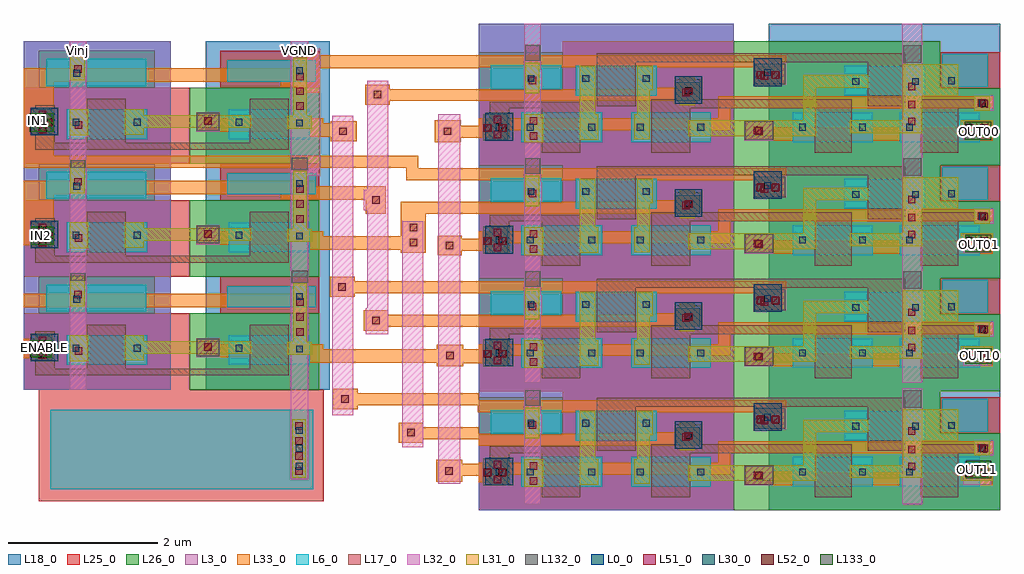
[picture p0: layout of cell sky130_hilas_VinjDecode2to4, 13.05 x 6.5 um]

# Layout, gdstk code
import gdstk
lib = gdstk.Library(unit=1e-6, precision=1e-09)
def R(c, l, rs):  # rectangles x0, y0, x1, y1
    for r in rs: c.add(gdstk.rectangle(r[:2], r[2:], *l))
def A(c, l, x, y, w, h, nx, ny, dx, dy):  # array of equal rectangles
    R(c, l, [(x+i*dx, y+j*dy, x+i*dx+w, y+j*dy+h) for i in range(nx) for j in range(ny)])
L0_0 = (0, 0)
L3_0 = (3, 0)
L6_0 = (6, 0)
L17_0 = (17, 0)
L18_0 = (18, 0)
L25_0 = (25, 0)
L26_0 = (26, 0)
L30_0 = (30, 0)
L31_0 = (31, 0)
L32_0 = (32, 0)
L33_0 = (33, 0)
L51_0 = (51, 0)
L52_0 = (52, 0)
L132_0 = (132, 0)
L133_0 = (133, 0)

m2_m1_cdns_668665110543 = lib.new_cell('M2_M1_CDNS_668665110543')
R(m2_m1_cdns_668665110543, L31_0, [(-0.09,-0.29,0.09,0.29)])
R(m2_m1_cdns_668665110543, L32_0, [(-0.09,-0.29,0.09,0.29)])
A(m2_m1_cdns_668665110543, L51_0, -0.05, -0.25, 0.1, 0.1, 1, 3, 0, 0.2)

sky130_hilas_vinjinv2 = lib.new_cell('sky130_hilas_VinjInv2')
R(sky130_hilas_vinjinv2, L0_0, [(0.09,0.38,0.46,0.75)])
R(sky130_hilas_vinjinv2, L3_0, [(0,0,1.96,1.64)])
R(sky130_hilas_vinjinv2, L6_0, [(0.57,0.33,1.65,0.73), (2.74,0.33,3.82,0.73), (0.3,1.04,1.635,1.405), (2.715,1.1,3.9,1.385)])
R(sky130_hilas_vinjinv2, L17_0, [(0.15,0.19,3.54,0.28), (0.84,0.19,1.36,0.87), (3.02,0.19,3.54,0.87), (0.15,0.28,0.41,0.78)])
R(sky130_hilas_vinjinv2, L18_0, [(0,0,1.96,1.64), (2.43,0,4.09,1.64)])
R(sky130_hilas_vinjinv2, L25_0, [(0,0,2.215,1.02), (2.625,1.02,3.95,1.51)])
R(sky130_hilas_vinjinv2, L26_0, [(2.215,0,3.95,1.02), (0.195,1.02,1.745,1.51)])
R(sky130_hilas_vinjinv2, L30_0, [(3.64,0.5,3.73,0.59), (0.23,0.51,0.32,0.6), (0.65,0.51,0.74,0.6), (1.47,0.51,1.56,0.6), (2.83,0.51,2.92,0.6), (0.66,1.165,0.75,1.255), (3.64,1.2,3.73,1.29)])
R(sky130_hilas_vinjinv2, L31_0, [(0.17,0.38,0.36,0.46), (0.61,0.38,0.86,0.4), (1.35,0.39,1.6,0.48), (0.61,0.4,0.86,0.67), (0.17,0.46,0.36,0.63), (3.52,0.47,3.85,0.64), (1.35,0.48,3.04,0.65), (0.17,0.63,0.36,0.74), (3.6,0.64,3.78,1.42), (1.35,0.65,1.6,0.73), (0.61,0.67,0.86,0.73), (0.62,1.115,0.81,1.215), (0.62,1.215,0.81,1.385), (0.62,1.385,0.81,1.525)])
R(sky130_hilas_vinjinv2, L32_0, [(0.61,0,0.83,0.09), (3.57,0,3.8,0.09), (0.61,0.09,0.83,0.36), (3.57,0.09,3.8,1.6), (0.61,0.36,0.86,0.67), (0.08,0.39,0.39,0.74), (2.3,0.43,2.62,0.69), (0.61,0.67,0.83,1.175), (0.61,1.175,0.84,1.435), (0.61,1.435,0.83,1.57), (0.61,1.57,0.83,1.64), (3.57,1.6,3.8,1.64)])
R(sky130_hilas_vinjinv2, L33_0, [(0.07,0.42,0.4,0.58), (2.3,0.43,4,0.61), (0.07,0.58,0.4,0.68), (2.3,0.61,2.62,0.69), (0,1.1,3.9,1.28)])
R(sky130_hilas_vinjinv2, L51_0, [(0.2,0.41,0.3,0.51), (0.68,0.47,0.78,0.57), (2.41,0.52,2.51,0.62), (0.2,0.61,0.3,0.71), (0.67,1.22,0.77,1.32)])
R(sky130_hilas_vinjinv2, L52_0, [(0.08,0.5,0.18,0.6), (0.28,0.5,0.38,0.6), (2.41,0.52,2.51,0.62)])
R(sky130_hilas_vinjinv2, L132_0, [(0.09,0.395,0.38,0.73), (2.31,0.445,2.61,0.68), (3.58,1.43,3.795,1.59), (0.625,1.455,0.82,1.555)])
sky130_hilas_vinjinv2.add(gdstk.Reference(m2_m1_cdns_668665110543, (3.69,0.97)))
sky130_hilas_vinjinv2.add(gdstk.Label('VGND', (3.68,1.52), layer=132, texttype=0))
sky130_hilas_vinjinv2.add(gdstk.Label('OUT', (2.46,0.57), layer=132, texttype=0))
sky130_hilas_vinjinv2.add(gdstk.Label('IN', (0.24,0.58), layer=132, texttype=0))
sky130_hilas_vinjinv2.add(gdstk.Label('Vinj', (0.72,1.51), layer=132, texttype=0))

sky130_hilas_vinjnor3 = lib.new_cell('sky130_hilas_VinjNOR3')
R(sky130_hilas_vinjnor3, L0_0, [(0.09,0.33,0.46,0.7), (2.62,0.82,2.99,1.19), (3.68,1.06,4.05,1.43)])
R(sky130_hilas_vinjnor3, L3_0, [(0,0,3.41,1.66)])
R(sky130_hilas_vinjnor3, L6_0, [(0.57,0.31,1.65,0.71), (2.04,0.31,3.1,0.71), (4.2,0.31,5.27,0.71), (5.63,0.31,6.7,0.71), (1.3,0.93,2.38,1.33), (4.89,0.93,5.97,1.33), (0.16,1.02,1.105,1.335), (6.2,1.05,6.805,1.49)])
R(sky130_hilas_vinjnor3, L17_0, [(0.84,0.17,1.36,0.76), (2.31,0.17,2.83,0.76), (4.49,0.17,4.99,0.76), (5.91,0.17,6.41,0.85), (0.15,0.35,0.41,0.76), (0.15,0.76,1.36,0.85), (2.31,0.76,4.99,0.81), (5.91,0.76,6.82,0.88), (1.58,0.79,2.1,1.38), (5.2,0.79,5.7,1.38), (2.31,0.81,4.99,0.83), (2.31,0.83,4.99,0.88), (2.62,0.88,2.97,1.15), (3.69,1.09,4.04,1.38), (1.58,1.38,5.7,1.42), (1.58,1.42,5.7,1.47), (1.58,1.47,5.7,1.5)])
R(sky130_hilas_vinjnor3, L18_0, [(0,0,3.41,1.66), (3.88,0,6.97,1.66)])
R(sky130_hilas_vinjnor3, L25_0, [(0,0,3.41,1), (1.125,0.805,3.41,1.66), (6.17,1.03,6.97,1.51)])
R(sky130_hilas_vinjnor3, L26_0, [(3.41,0,6.97,1.03), (3.41,0.795,6.17,1.66), (0,1,1.125,1.51)])
R(sky130_hilas_vinjnor3, L30_0, [(0.225,0.465,0.315,0.555), (0.645,0.465,0.735,0.555), (1.465,0.465,1.555,0.555), (2.115,0.465,2.205,0.555), (2.925,0.465,3.015,0.555), (4.285,0.465,4.375,0.555), (5.085,0.465,5.175,0.555), (5.715,0.465,5.805,0.555), (6.505,0.465,6.595,0.555), (6.69,0.78,6.78,0.87), (2.755,0.955,2.845,1.045), (4.995,1.075,5.085,1.165), (5.795,1.075,5.885,1.165), (6.275,1.085,6.365,1.175), (0.655,1.115,0.745,1.205), (1.385,1.115,1.475,1.205), (2.195,1.115,2.285,1.205), (3.815,1.195,3.905,1.285)])
R(sky130_hilas_vinjnor3, L31_0, [(0.61,0.31,0.86,0.62), (0.15,0.33,0.375,0.69), (1.35,0.34,1.6,0.43), (2.08,0.35,2.29,0.43), (2.8,0.39,4.51,0.6), (3.65,0.39,3.82,0.43), (6.445,0.39,6.88,0.6), (1.35,0.43,1.6,0.68), (2.08,0.43,2.29,0.68), (4.96,0.43,5.93,0.6), (4.34,0.6,4.51,1.04), (5.67,0.6,5.93,1.04), (0.61,0.62,0.86,0.68), (1.35,0.68,1.56,1.25), (2.12,0.68,2.29,1), (6.625,0.73,6.835,0.93), (2.69,0.8,2.89,0.9), (2.69,0.9,2.89,1.07), (5.67,0.93,6.41,1.35), (6.23,0.93,6.41,1.04), (0.62,0.96,0.81,1.06), (2.12,1,2.33,1.25), (4.34,1.04,5.21,1.21), (0.62,1.06,0.81,1.23), (2.69,1.07,2.89,1.17), (3.74,1.11,3.95,1.31), (5.67,1.22,5.93,1.29), (6.23,1.22,6.41,1.35), (0.62,1.23,0.81,1.37), (1.35,1.25,1.56,1.33), (2.12,1.25,2.33,1.33)])
R(sky130_hilas_vinjnor3, L32_0, [(0.61,0.11,0.83,0.31), (5.66,0.11,5.93,1.63), (0.61,0.31,0.86,0.62), (0.055,0.33,0.39,0.69), (3.55,0.33,3.94,0.6), (6.48,0.34,6.85,0.6), (0.61,0.62,0.83,1.02), (6.625,0.73,6.885,0.93), (2.63,0.86,2.96,1.12), (0.61,1.02,0.84,1.28), (3.68,1.08,4.11,1.37), (0.61,1.28,0.83,1.62)])
R(sky130_hilas_vinjnor3, L33_0, [(3.57,0.33,6.87,0.5), (0,0.37,0.4,0.53), (0.4,0.47,3.36,0.63), (3.57,0.5,4.6,0.51), (6.48,0.5,6.87,0.6), (3.57,0.51,3.94,0.59), (0,0.53,0.4,0.63), (3.2,0.63,3.36,0.92), (3.36,0.76,6.875,0.92), (0,0.86,2.96,1.02), (2.36,1.02,2.96,1.04), (2.63,1.04,2.96,1.12), (3.69,1.08,4.11,1.31), (-0.01,1.31,4.11,1.47)])
R(sky130_hilas_vinjnor3, L51_0, [(0.68,0.34,0.78,0.44), (0.2,0.36,0.3,0.46), (3.68,0.415,3.78,0.515), (6.515,0.45,6.615,0.55), (6.715,0.45,6.815,0.55), (5.74,0.535,5.84,0.635), (0.68,0.54,0.78,0.64), (0.2,0.56,0.3,0.66), (5.74,0.76,5.84,0.86), (6.675,0.78,6.775,0.88), (2.72,0.925,2.82,1.025), (5.74,1.005,5.84,1.105), (0.67,1.085,0.77,1.185), (3.77,1.145,3.87,1.245)])
R(sky130_hilas_vinjnor3, L52_0, [(3.695,0.41,3.795,0.51), (6.505,0.445,6.605,0.545), (6.705,0.445,6.805,0.545), (0.07,0.45,0.17,0.55), (0.27,0.45,0.37,0.55), (6.705,0.775,6.805,0.875), (2.755,0.94,2.855,1.04), (3.72,1.16,3.82,1.26), (3.92,1.16,4.02,1.26)])
R(sky130_hilas_vinjnor3, L132_0, [(0.06,0.335,0.385,0.685), (3.555,0.34,3.935,0.59), (2.64,0.865,2.955,1.11), (3.69,1.085,4.1,1.36), (5.675,1.37,5.92,1.605), (0.62,1.395,0.82,1.605)])
sky130_hilas_vinjnor3.add(gdstk.Label('NENABLE', (0.215,0.605), layer=132, texttype=0))
sky130_hilas_vinjnor3.add(gdstk.Label('IN1', (3.89,1.295), layer=132, texttype=0))
sky130_hilas_vinjnor3.add(gdstk.Label('IN2', (2.795,1.035), layer=132, texttype=0))
sky130_hilas_vinjnor3.add(gdstk.Label('OUT', (3.735,0.48), layer=132, texttype=0))
sky130_hilas_vinjnor3.add(gdstk.Label('Vinj', (0.715,1.505), layer=132, texttype=0))
sky130_hilas_vinjnor3.add(gdstk.Label('VGND', (5.785,1.51), layer=132, texttype=0))

m2_m1_cdns_668665110540 = lib.new_cell('M2_M1_CDNS_668665110540')
R(m2_m1_cdns_668665110540, L31_0, [(-0.09,-0.39,0.09,0.39)])
R(m2_m1_cdns_668665110540, L32_0, [(-0.09,-0.39,0.09,0.39)])
A(m2_m1_cdns_668665110540, L51_0, -0.05, -0.35, 0.1, 0.1, 1, 4, 0, 0.2)

m1_od_cdns_668665110541 = lib.new_cell('M1_OD_CDNS_668665110541')
R(m1_od_cdns_668665110541, L6_0, [(-0.075,-0.35,0.075,0.35)])
A(m1_od_cdns_668665110541, L30_0, -0.045, -0.285, 0.09, 0.09, 1, 3, 0, 0.24)
R(m1_od_cdns_668665110541, L31_0, [(-0.09,-0.39,0.09,0.39)])

m3_m2_cdns_668665110542 = lib.new_cell('M3_M2_CDNS_668665110542')
R(m3_m2_cdns_668665110542, L32_0, [(-0.09,-0.19,0.09,0.19)])
R(m3_m2_cdns_668665110542, L33_0, [(-0.09,-0.19,0.09,0.19)])
R(m3_m2_cdns_668665110542, L52_0, [(-0.05,-0.15,0.05,-0.05), (-0.05,0.05,0.05,0.15)])

sky130_hilas_vinjdecode2 = lib.new_cell('sky130_hilas_VinjDecode2to4')
R(sky130_hilas_vinjdecode2, L3_0, [(6.69,0.21,6.91,0.26), (6.69,6.16,6.91,6.22), (6.08,6.27,9.49,6.5)])
R(sky130_hilas_vinjdecode2, L6_0, [(0.35,0.28,3.865,1.34)])
R(sky130_hilas_vinjdecode2, L18_0, [(6.08,6.27,9.49,6.5), (9.96,6.27,13.05,6.5)])
R(sky130_hilas_vinjdecode2, L25_0, [(0.195,0.12,4.01,1.61)])
R(sky130_hilas_vinjdecode2, L32_0, [(6.69,0.08,6.91,0.19), (11.74,0.08,12.01,0.19), (6.69,0.21,6.91,0.26), (5.54,0.35,5.83,1.89), (3.57,0.415,3.8,1.765), (5.06,0.84,5.34,0.87), (5.06,0.87,5.34,1.2), (5.06,1.2,5.34,3.41), (4.12,1.27,4.4,1.32), (4.12,1.32,4.4,1.65), (4.12,1.65,4.4,2.82), (5.54,1.89,5.83,2.24), (5.54,2.24,5.83,4.89), (4.57,2.35,4.87,2.37), (4.57,2.37,4.87,2.7), (4.59,2.7,4.87,4.01), (4.12,2.82,4.4,3.15), (4.12,3.15,4.4,5.27), (0.61,3.165,0.83,4.785), (5.06,3.41,5.34,3.74), (5.06,3.74,5.34,3.865), (4.54,4.01,4.87,4.28), (4.59,4.28,4.87,5.74), (3.63,4.47,3.96,4.5), (3.63,4.5,3.96,4.83), (3.63,4.83,3.96,5.61), (5.54,4.89,5.83,5.24), (5.54,5.24,5.83,5.29), (3.63,5.61,3.96,5.88), (3.63,5.88,3.96,6.17), (0.61,6.15,0.83,6.23), (6.69,6.16,6.91,6.22), (6.69,6.23,6.91,6.5), (11.74,6.24,12.01,6.5)])
A(sky130_hilas_vinjdecode2, L33_0, 12.82, 1.92, 0.13, 0.17, 1, 3, 0, 1.51)
R(sky130_hilas_vinjdecode2, L33_0, [(5.51,0.38,5.86,0.46), (12.82,0.42,12.95,0.59), (5.51,0.46,6.08,0.62), (5.51,0.62,5.86,0.67), (5.01,0.9,5.34,0.95), (5.01,0.95,6.08,1.11), (5.01,1.11,5.34,1.17), (4.13,1.35,4.46,1.4), (4.13,1.4,6.08,1.56), (4.13,1.56,4.46,1.62), (5.52,1.92,5.87,1.96), (5.52,1.96,6.08,1.97), (3.43,1.97,6.08,2.15), (0,2.03,0.07,2.07), (0,2.07,0.11,2.25), (3.43,2.12,6.01,2.15), (5.52,2.15,5.87,2.21), (0,2.25,0.07,2.29), (4.54,2.4,4.87,2.45), (4.54,2.45,6.08,2.61), (4.54,2.61,4.87,2.67), (4.09,2.85,4.42,2.9), (4.09,2.9,6.08,3.06), (4.09,3.06,4.42,3.12), (5.53,3.41,5.85,3.47), (5.04,3.44,5.37,3.48), (5.53,3.47,6.08,3.63), (3.43,3.48,5.37,3.66), (0,3.54,0.4,4.4), (5.53,3.63,5.85,3.67), (5.04,3.66,5.37,3.71), (5.04,3.71,5.37,3.96), (4.57,3.96,4.84,3.98), (5.04,3.96,6.08,4.12), (4.57,3.98,4.84,4.12), (4.57,4.12,4.84,4.15), (3.43,4.15,4.84,4.31), (3.43,4.31,4.84,4.33), (5.11,4.41,6.07,4.57), (5.11,4.57,5.27,4.58), (0,4.58,5.27,4.74), (0,4.74,0.4,5.73), (5.49,4.92,5.84,4.98), (4.1,4.93,4.45,4.98), (4.1,4.98,4.45,4.99), (5.49,4.98,6.08,5.14), (3.43,4.99,4.45,5.17), (5.49,5.14,5.84,5.21), (4.1,5.17,4.45,5.2), (4.56,5.42,4.89,5.47), (4.56,5.47,6.08,5.63), (3.66,5.58,3.96,5.66), (4.56,5.63,4.89,5.69), (3.43,5.66,3.96,5.84), (3.69,5.84,3.96,5.91), (3.685,5.91,6.075,6.07), (3.69,5.91,3.96,5.92), (3.685,6.07,6.08,6.08)])
R(sky130_hilas_vinjdecode2, L52_0, [(5.635,0.475,5.735,0.575), (5.125,0.985,5.225,1.085), (4.245,1.435,4.345,1.535), (5.645,2.015,5.745,2.115), (4.655,2.485,4.755,2.585), (4.205,2.935,4.305,3.035), (5.64,3.49,5.74,3.59), (5.155,3.525,5.255,3.625), (4.655,4.095,4.755,4.195), (4.215,5.015,4.315,5.115), (5.615,5.015,5.715,5.115), (4.675,5.505,4.775,5.605)])
R(sky130_hilas_vinjdecode2, L132_0, [(3.58,6.06,3.795,6.22), (0.625,6.085,0.82,6.185)])
R(sky130_hilas_vinjdecode2, L133_0, [(12.59,0.425,12.93,0.66), (12.585,1.955,12.94,2.165), (0.085,2.04,0.38,2.27), (12.585,3.45,12.93,3.68), (0.09,3.55,0.395,3.785), (12.58,4.95,12.935,5.195), (0.08,5.06,0.395,5.305)])
sky130_hilas_vinjdecode2.add(gdstk.Reference(sky130_hilas_vinjinv2, (0,1.61)))
sky130_hilas_vinjdecode2.add(gdstk.Reference(sky130_hilas_vinjinv2, (0,3.12)))
sky130_hilas_vinjdecode2.add(gdstk.Reference(sky130_hilas_vinjinv2, (0,4.63)))
sky130_hilas_vinjdecode2.add(gdstk.Reference(sky130_hilas_vinjnor3, (6.08,0)))
sky130_hilas_vinjdecode2.add(gdstk.Reference(sky130_hilas_vinjnor3, (6.08,4.61)))
sky130_hilas_vinjdecode2.add(gdstk.Reference(sky130_hilas_vinjnor3, (6.08,1.59)))
sky130_hilas_vinjdecode2.add(gdstk.Reference(sky130_hilas_vinjnor3, (6.08,3.1)))
sky130_hilas_vinjdecode2.add(gdstk.Reference(m2_m1_cdns_668665110540, (3.68,0.825)))
sky130_hilas_vinjdecode2.add(gdstk.Reference(m1_od_cdns_668665110541, (3.68,0.825)))
sky130_hilas_vinjdecode2.add(gdstk.Reference(m3_m2_cdns_668665110542, (5.205,3.675)))
sky130_hilas_vinjdecode2.add(gdstk.Label('VGND', (3.68,6.15), layer=132, texttype=0))
sky130_hilas_vinjdecode2.add(gdstk.Label('Vinj', (0.72,6.14), layer=132, texttype=0))
sky130_hilas_vinjdecode2.add(gdstk.Label('OUT11', (12.75,0.545), layer=133, texttype=0))
sky130_hilas_vinjdecode2.add(gdstk.Label('OUT10', (12.795,2.06), layer=133, texttype=0))
sky130_hilas_vinjdecode2.add(gdstk.Label('OUT01', (12.77,3.555), layer=133, texttype=0))
sky130_hilas_vinjdecode2.add(gdstk.Label('OUT00', (12.775,5.065), layer=133, texttype=0))
sky130_hilas_vinjdecode2.add(gdstk.Label('IN1', (0.195,5.205), layer=133, texttype=0))
sky130_hilas_vinjdecode2.add(gdstk.Label('ENABLE', (0.28,2.18), layer=133, texttype=0))
sky130_hilas_vinjdecode2.add(gdstk.Label('IN2', (0.235,3.675), layer=133, texttype=0))

lib.write_gds('sky130_hilas_VinjDecode2to4.gds')
